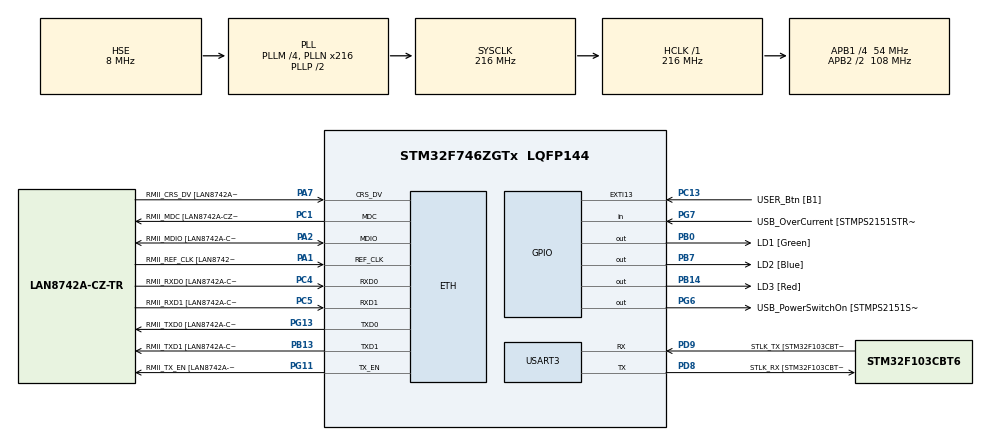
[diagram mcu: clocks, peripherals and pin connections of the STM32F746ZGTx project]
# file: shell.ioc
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ETH.MediaInterface=ETH_MEDIA_INTERFACE_RMII
FREERTOS.BinarySemaphores01=myBinarySem01,Dynamic,NULL
FREERTOS.Mutexes01=myMutex01,Dynamic,NULL
FREERTOS.Tasks01=defaultTask,0,128,StartDefaultTask,Default,NULL,Dynamic,NULL,NULL;myTaskDebug,2,128,StartTaskDebug,Default,NULL,Dynamic,NULL,NULL
FREERTOS.configTOTAL_HEAP_SIZE=30720
LWIP.MEM_SIZE=4096
LWIP.TCPIP_MBOX_SIZE=18
LWIP.Version=v2.0.3_Cube
Mcu.Family=STM32F7
Mcu.Name=STM32F746ZGTx
Mcu.Package=LQFP144
NVIC.ETH_IRQn=true\:5\:0\:false\:false\:true\:true\:false
NVIC.PriorityGroup=NVIC_PRIORITYGROUP_4
NVIC.USART3_IRQn=true\:5\:0\:false\:false\:true\:true\:true
PA1.GPIO_Label=RMII_REF_CLK [LAN8742A-CZ-TR_REFCLK0]
PA1.Mode=RMII
PA1.Signal=ETH_REF_CLK
PA10.GPIO_Label=USB_ID
PA10.Signal=USB_OTG_FS_ID
PA11.GPIO_Label=USB_DM
PA11.Signal=USB_OTG_FS_DM
PA12.GPIO_Label=USB_DP
PA12.Signal=USB_OTG_FS_DP
PA13.GPIO_Label=TMS
PA13.Mode=Serial_Wire
PA13.Signal=SYS_JTMS-SWDIO
PA14.GPIO_Label=TCK
PA14.Mode=Serial_Wire
PA14.Signal=SYS_JTCK-SWCLK
PA2.GPIO_Label=RMII_MDIO [LAN8742A-CZ-TR_MDIO]
PA2.Mode=RMII
PA2.Signal=ETH_MDIO
PA7.GPIO_Label=RMII_CRS_DV [LAN8742A-CZ-TR_CRS_DV]
PA7.Mode=RMII
PA7.Signal=ETH_CRS_DV
PA8.GPIO_Label=USB_SOF [TP1]
PA8.Signal=USB_OTG_FS_SOF
PA9.GPIO_Label=USB_VBUS
PA9.Signal=USB_OTG_FS_VBUS
PB0.GPIO_Label=LD1 [Green]
PB0.Signal=GPIO_Output
PB13.GPIO_Label=RMII_TXD1 [LAN8742A-CZ-TR_TXD1]
PB13.Mode=RMII
PB13.Signal=ETH_TXD1
PB14.GPIO_Label=LD3 [Red]
PB14.Signal=GPIO_Output
PB3.GPIO_Label=SW0
PB3.Signal=SYS_JTDO-SWO
PB7.GPIO_Label=LD2 [Blue]
PB7.Signal=GPIO_Output
PC1.GPIO_Label=RMII_MDC [LAN8742A-CZ-TR_MDC]
PC1.Mode=RMII
PC1.Signal=ETH_MDC
PC13.GPIO_Label=USER_Btn [B1]
PC13.Signal=GPXTI13
PC14/OSC32_IN.Mode=LSE-External-Oscillator
PC14/OSC32_IN.Signal=RCC_OSC32_IN
PC15/OSC32_OUT.Mode=LSE-External-Oscillator
PC15/OSC32_OUT.Signal=RCC_OSC32_OUT
PC4.GPIO_Label=RMII_RXD0 [LAN8742A-CZ-TR_RXD0]
PC4.Mode=RMII
PC4.Signal=ETH_RXD0
PC5.GPIO_Label=RMII_RXD1 [LAN8742A-CZ-TR_RXD1]
PC5.Mode=RMII
PC5.Signal=ETH_RXD1
PD8.GPIO_Label=STLK_RX [STM32F103CBT6_PA3]
PD8.Mode=Asynchronous
PD8.Signal=USART3_TX
PD9.GPIO_Label=STLK_TX [STM32F103CBT6_PA2]
PD9.Mode=Asynchronous
PD9.Signal=USART3_RX
PG11.GPIO_Label=RMII_TX_EN [LAN8742A-CZ-TR_TXEN]
PG11.Mode=RMII
PG11.Signal=ETH_TX_EN
PG13.GPIO_Label=RMII_TXD0 [LAN8742A-CZ-TR_TXD0]
PG13.Mode=RMII
PG13.Signal=ETH_TXD0
PG6.GPIO_Label=USB_PowerSwitchOn [STMPS2151STR_EN]
PG6.Signal=GPIO_Output
PG7.GPIO_Label=USB_OverCurrent [STMPS2151STR_FAULT]
PG7.Signal=GPIO_Input
PH0/OSC_IN.GPIO_Label=MCO [STM32F103CBT6_PA8]
PH0/OSC_IN.Mode=HSE-External-Clock-Source
PH0/OSC_IN.Signal=RCC_OSC_IN
PH1/OSC_OUT.Mode=HSE-External-Clock-Source
PH1/OSC_OUT.Signal=RCC_OSC_OUT
ProjectManager.HeapSize=0x1000
ProjectManager.StackSize=0x200
ProjectManager.TargetToolchain=MDK-ARM V5
RCC.48MHZClocksFreq_Value=24000000
RCC.AHBFreq_Value=216000000
RCC.APB1CLKDivider=RCC_HCLK_DIV4
RCC.APB1Freq_Value=54000000
RCC.APB1TimFreq_Value=108000000
RCC.APB2CLKDivider=RCC_HCLK_DIV2
RCC.APB2Freq_Value=108000000
RCC.APB2TimFreq_Value=216000000
RCC.CortexFreq_Value=216000000
RCC.HCLKFreq_Value=216000000
RCC.HSE_VALUE=8000000
RCC.HSI_VALUE=16000000
RCC.PLLM=4
RCC.PLLMUL=RCC_PLL_MUL9
RCC.PLLN=216
RCC.PLLQ=3
RCC.PLLSourceVirtual=RCC_PLLSOURCE_HSE
RCC.PRESCALERUSB=RCC_USBCLKSOURCE_PLL_DIV1_5
RCC.SYSCLKFreq_VALUE=216000000
RCC.SYSCLKSource=RCC_SYSCLKSOURCE_PLLCLK
RCC.SYSCLKSourceVirtual=RCC_SYSCLKSOURCE_PLLCLK
RCC.USBFreq_Value=144000000
RCC.VCOOutputFreq_Value=432000000
USART3.VirtualMode-Asynchronous=VM_ASYNC
VP_FREERTOS_VS_ENABLE.Mode=Enabled
VP_LWIP_VS_Enabled.Mode=Enabled
board=NUCLEO-F746ZG

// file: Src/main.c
/* USER CODE BEGIN Header */
/**
  ******************************************************************************
  * @file           : main.c
  * @brief          : Main program body
  ******************************************************************************
  * This notice applies to any and all portions of this file
  * that are not between comment pairs USER CODE BEGIN and
  * USER CODE END. Other portions of this file, whether
  * inserted by the user or by software development tools
  * are owned by their respective copyright owners.
  *
  * Copyright (c) 2019 STMicroelectronics International N.V.
  * All rights reserved.
  *
  * Redistribution and use in source and binary forms, with or without
  * modification, are permitted, provided that the following conditions are met:
  *
  * 1. Redistribution of source code must retain the above copyright notice,
  *    this list of conditions and the following disclaimer.
  * 2. Redistributions in binary form must reproduce the above copyright notice,
  *    this list of conditions and the following disclaimer in the documentation
  *    and/or other materials provided with the distribution.
  * 3. Neither the name of STMicroelectronics nor the names of other
  *    contributors to this software may be used to endorse or promote products
  *    derived from this software without specific written permission.
  * 4. This software, including modifications and/or derivative works of this
  *    software, must execute solely and exclusively on microcontroller or
  *    microprocessor devices manufactured by or for STMicroelectronics.
  * 5. Redistribution and use of this software other than as permitted under
  *    this license is void and will automatically terminate your rights under
  *    this license.
  *
  * THIS SOFTWARE IS PROVIDED BY STMICROELECTRONICS AND CONTRIBUTORS "AS IS"
  * AND ANY EXPRESS, IMPLIED OR STATUTORY WARRANTIES, INCLUDING, BUT NOT
  * LIMITED TO, THE IMPLIED WARRANTIES OF MERCHANTABILITY, FITNESS FOR A
  * PARTICULAR PURPOSE AND NON-INFRINGEMENT OF THIRD PARTY INTELLECTUAL PROPERTY
  * RIGHTS ARE DISCLAIMED TO THE FULLEST EXTENT PERMITTED BY LAW. IN NO EVENT
  * SHALL STMICROELECTRONICS OR CONTRIBUTORS BE LIABLE FOR ANY DIRECT, INDIRECT,
  * INCIDENTAL, SPECIAL, EXEMPLARY, OR CONSEQUENTIAL DAMAGES (INCLUDING, BUT NOT
  * LIMITED TO, PROCUREMENT OF SUBSTITUTE GOODS OR SERVICES; LOSS OF USE, DATA,
  * OR PROFITS; OR BUSINESS INTERRUPTION) HOWEVER CAUSED AND ON ANY THEORY OF
  * LIABILITY, WHETHER IN CONTRACT, STRICT LIABILITY, OR TORT (INCLUDING
  * NEGLIGENCE OR OTHERWISE) ARISING IN ANY WAY OUT OF THE USE OF THIS SOFTWARE,
  * EVEN IF ADVISED OF THE POSSIBILITY OF SUCH DAMAGE.
  *
  ******************************************************************************
  */
/* USER CODE END Header */

#include "main.h"
#include "cmsis_os.h"
#include "lwip.h"
#include "usart.h"
#include "gpio.h"

void SystemClock_Config(void);
void MX_FREERTOS_Init(void);

int main(void)
{

  /* MCU Configuration--------------------------------------------------------*/

  /* Reset of all peripherals, Initializes the Flash interface and the Systick. */
  HAL_Init();

  /* Configure the system clock */
  SystemClock_Config();

  /* Initialize all configured peripherals */
  MX_GPIO_Init();
  MX_USART3_UART_Init();

  /* Call init function for freertos objects (in freertos.c) */
  MX_FREERTOS_Init();

  /* Start scheduler */
  osKernelStart();

  /* We should never get here as control is now taken by the scheduler */

  /* Infinite loop */
  while (1)
  {

  }
}

void SystemClock_Config(void)
{
  RCC_OscInitTypeDef RCC_OscInitStruct = {0};
  RCC_ClkInitTypeDef RCC_ClkInitStruct = {0};
  RCC_PeriphCLKInitTypeDef PeriphClkInitStruct = {0};

  /**Configure LSE Drive Capability
  */
  HAL_PWR_EnableBkUpAccess();
  /**Configure the main internal regulator output voltage
  */
  __HAL_RCC_PWR_CLK_ENABLE();
  __HAL_PWR_VOLTAGESCALING_CONFIG(PWR_REGULATOR_VOLTAGE_SCALE1);
  /**Initializes the CPU, AHB and APB busses clocks
  */
  RCC_OscInitStruct.OscillatorType = RCC_OSCILLATORTYPE_HSE;
  RCC_OscInitStruct.HSEState = RCC_HSE_BYPASS;
  RCC_OscInitStruct.PLL.PLLState = RCC_PLL_ON;
  RCC_OscInitStruct.PLL.PLLSource = RCC_PLLSOURCE_HSE;
  RCC_OscInitStruct.PLL.PLLM = 4;
  RCC_OscInitStruct.PLL.PLLN = 216;
  RCC_OscInitStruct.PLL.PLLP = RCC_PLLP_DIV2;
  RCC_OscInitStruct.PLL.PLLQ = 3;
  if (HAL_RCC_OscConfig(&RCC_OscInitStruct) != HAL_OK)
  {
    Error_Handler();
  }
  /**Activate the Over-Drive mode
  */
  if (HAL_PWREx_EnableOverDrive() != HAL_OK)
  {
    Error_Handler();
  }
  /**Initializes the CPU, AHB and APB busses clocks
  */
  RCC_ClkInitStruct.ClockType = RCC_CLOCKTYPE_HCLK|RCC_CLOCKTYPE_SYSCLK
                              |RCC_CLOCKTYPE_PCLK1|RCC_CLOCKTYPE_PCLK2;
  RCC_ClkInitStruct.SYSCLKSource = RCC_SYSCLKSOURCE_PLLCLK;
  RCC_ClkInitStruct.AHBCLKDivider = RCC_SYSCLK_DIV1;
  RCC_ClkInitStruct.APB1CLKDivider = RCC_HCLK_DIV4;
  RCC_ClkInitStruct.APB2CLKDivider = RCC_HCLK_DIV2;

  if (HAL_RCC_ClockConfig(&RCC_ClkInitStruct, FLASH_LATENCY_7) != HAL_OK)
  {
    Error_Handler();
  }
  PeriphClkInitStruct.PeriphClockSelection = RCC_PERIPHCLK_USART3;
  PeriphClkInitStruct.Usart3ClockSelection = RCC_USART3CLKSOURCE_PCLK1;
  if (HAL_RCCEx_PeriphCLKConfig(&PeriphClkInitStruct) != HAL_OK)
  {
    Error_Handler();
  }
}

/* USER CODE BEGIN 4 */

//void assert(char *ptr,char *file, uint32_t line)
//{
//  /* USER CODE BEGIN 6 */
//  /* User can add his own implementation to report the file name and line number,*/
//      Ac_log("Wrong %s: file %s on line %d\r\n",ptr, file, line);
//			while(1)
//		__BKPT(0);
//  /* USER CODE END 6 */
//}
/* USER CODE END 4 */
void __aeabi_assert(const char *str,const char *file,int line)
{
	Ac_log("Wrong %s: file %s on line %d\r\n",str,file,line);
	while(1);
	//__BKPT(0);
}
void Error_Handler(void)
{
}

#ifdef  USE_FULL_ASSERT
/**
  * @brief  Reports the name of the source file and the source line number
  *         where the assert_param error has occurred.
  * @param  file: pointer to the source file name
  * @param  line: assert_param error line source number
  * @retval None
  */
void assert_failed(uint8_t *file, uint32_t line)
{
  /* USER CODE BEGIN 6 */
  /* User can add his own implementation to report the file name and line number,*/
      Ac_log("Wrong %s: file %s on line %d\r\n",file, line);
			while(1);
	//	__BKPT(0);
  /* USER CODE END 6 */
}
#endif /* USE_FULL_ASSERT */

/************************ (C) COPYRIGHT STMicroelectronics *****END OF FILE****/

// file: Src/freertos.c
/* USER CODE BEGIN Header */
/**
  ******************************************************************************
  * File Name          : freertos.c
  * Description        : Code for freertos applications
  ******************************************************************************
  * This notice applies to any and all portions of this file
  * that are not between comment pairs USER CODE BEGIN and
  * USER CODE END. Other portions of this file, whether
  * inserted by the user or by software development tools
  * are owned by their respective copyright owners.
  *
  * Copyright (c) 2019 STMicroelectronics International N.V.
  * All rights reserved.
  *
  * Redistribution and use in source and binary forms, with or without
  * modification, are permitted, provided that the following conditions are met:
  *
  * 1. Redistribution of source code must retain the above copyright notice,
  *    this list of conditions and the following disclaimer.
  * 2. Redistributions in binary form must reproduce the above copyright notice,
  *    this list of conditions and the following disclaimer in the documentation
  *    and/or other materials provided with the distribution.
  * 3. Neither the name of STMicroelectronics nor the names of other
  *    contributors to this software may be used to endorse or promote products
  *    derived from this software without specific written permission.
  * 4. This software, including modifications and/or derivative works of this
  *    software, must execute solely and exclusively on microcontroller or
  *    microprocessor devices manufactured by or for STMicroelectronics.
  * 5. Redistribution and use of this software other than as permitted under
  *    this license is void and will automatically terminate your rights under
  *    this license.
  *
  * THIS SOFTWARE IS PROVIDED BY STMICROELECTRONICS AND CONTRIBUTORS "AS IS"
  * AND ANY EXPRESS, IMPLIED OR STATUTORY WARRANTIES, INCLUDING, BUT NOT
  * LIMITED TO, THE IMPLIED WARRANTIES OF MERCHANTABILITY, FITNESS FOR A
  * PARTICULAR PURPOSE AND NON-INFRINGEMENT OF THIRD PARTY INTELLECTUAL PROPERTY
  * RIGHTS ARE DISCLAIMED TO THE FULLEST EXTENT PERMITTED BY LAW. IN NO EVENT
  * SHALL STMICROELECTRONICS OR CONTRIBUTORS BE LIABLE FOR ANY DIRECT, INDIRECT,
  * INCIDENTAL, SPECIAL, EXEMPLARY, OR CONSEQUENTIAL DAMAGES (INCLUDING, BUT NOT
  * LIMITED TO, PROCUREMENT OF SUBSTITUTE GOODS OR SERVICES; LOSS OF USE, DATA,
  * OR PROFITS; OR BUSINESS INTERRUPTION) HOWEVER CAUSED AND ON ANY THEORY OF
  * LIABILITY, WHETHER IN CONTRACT, STRICT LIABILITY, OR TORT (INCLUDING
  * NEGLIGENCE OR OTHERWISE) ARISING IN ANY WAY OUT OF THE USE OF THIS SOFTWARE,
  * EVEN IF ADVISED OF THE POSSIBILITY OF SUCH DAMAGE.
  *
  ******************************************************************************
  */
/* USER CODE END Header */

#include "FreeRTOS.h"
#include "task.h"
#include "main.h"
#include "cmsis_os.h"

/* USER CODE BEGIN Includes */
#include "t_debug.h"
#include "t_shell.h"
/* USER CODE END Includes */

osThreadId defaultTaskHandle;
osThreadId myTaskDebugHandle;
osMutexId myMutex01Handle;
osSemaphoreId myBinarySem01Handle;

void StartDefaultTask(void const * argument);
void StartTaskDebug(void const * argument);

extern void MX_LWIP_Init(void);
void MX_FREERTOS_Init(void); /* (MISRA C 2004 rule 8.1) */

void MX_FREERTOS_Init(void) {

  /* Create the mutex(es) */
  /* definition and creation of myMutex01 */
  osMutexDef(myMutex01);
  myMutex01Handle = osMutexCreate(osMutex(myMutex01));

  /* Create the semaphores(s) */
  /* definition and creation of myBinarySem01 */
  osSemaphoreDef(myBinarySem01);
  myBinarySem01Handle = osSemaphoreCreate(osSemaphore(myBinarySem01), 1);

  /* Create the thread(s) */
  /* definition and creation of defaultTask */
  osThreadDef(defaultTask, StartDefaultTask, osPriorityNormal, 0, 128);
  defaultTaskHandle = osThreadCreate(osThread(defaultTask), NULL);

  /* definition and creation of myTaskDebug */
  osThreadDef(myTaskDebug, StartTaskDebug, osPriorityHigh, 0, 2048);
  myTaskDebugHandle = osThreadCreate(osThread(myTaskDebug), NULL);

}

//uint16_t LEDX[]={LD1_Pin,LD2_Pin,LD3_Pin};
void StartDefaultTask(void const * argument)
{
  /* init code for LWIP */
  MX_LWIP_Init();

  /* USER CODE BEGIN StartDefaultTask */
  /* Infinite loop */
  for(;;)
  {
    osDelay(200);
		HAL_GPIO_TogglePin(GPIOB, LD1_Pin);
		osDelay(200);
		HAL_GPIO_TogglePin(GPIOB, LD2_Pin);
		osDelay(200);
		HAL_GPIO_TogglePin(GPIOB, LD3_Pin);
		osDelay(200);
		HAL_GPIO_TogglePin(GPIOB, LD3_Pin);
		osDelay(200);
		HAL_GPIO_TogglePin(GPIOB, LD2_Pin);
		osDelay(200);
		HAL_GPIO_TogglePin(GPIOB, LD1_Pin);

  }
  /* USER CODE END StartDefaultTask */
}

#include "t_debug.h"
shell_context_struct t_shell;
void StartTaskDebug(void const * argument)
{
  /* USER CODE BEGIN StartTaskDebug */
	LOG_Init();

	SHELL_Init(&t_shell,t_send_data,t_recv_data,DbgConsole_Printf,"T#->");
  /* Infinite loop */
  for(;;)
  {
		SHELL_Main(&t_shell);
  }
  /* USER CODE END StartTaskDebug */
}

/************************ (C) COPYRIGHT STMicroelectronics *****END OF FILE****/
